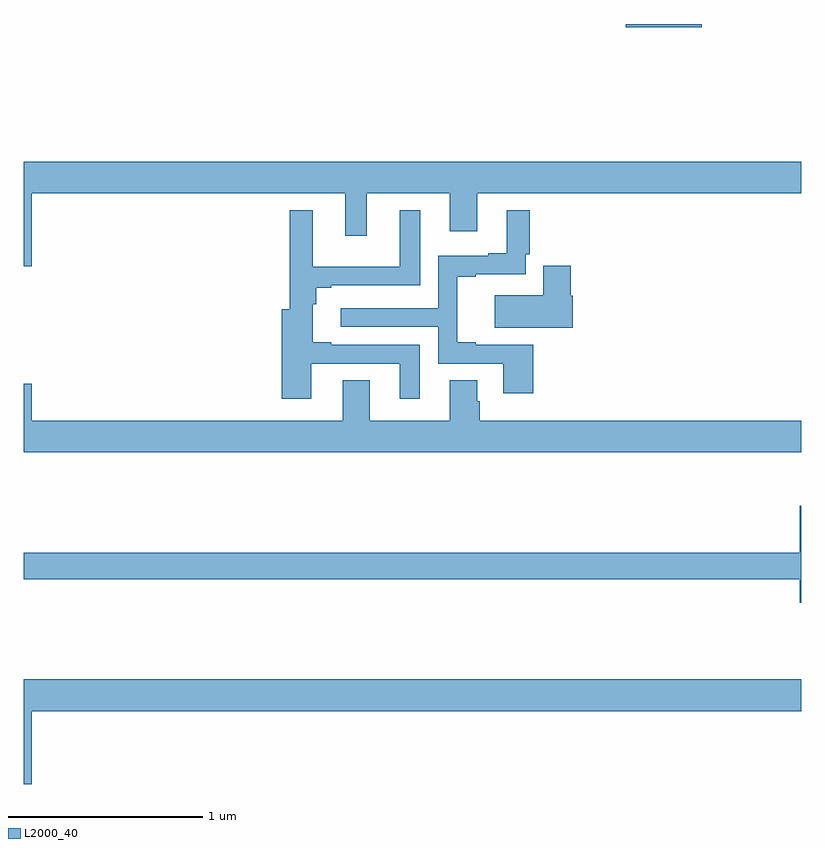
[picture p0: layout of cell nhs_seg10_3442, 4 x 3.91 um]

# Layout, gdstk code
import gdstk
lib = gdstk.Library(unit=1e-6, precision=1e-09)
def R(c, l, rs):  # rectangles x0, y0, x1, y1
    for r in rs: c.add(gdstk.rectangle(r[:2], r[2:], *l))
def P(c, l, *ps):  # polygons
    for p in ps: c.add(gdstk.Polygon(p, *l))
L2000_40 = (2000, 40)

nhs_seg10_3442 = lib.new_cell('nhs_seg10_3442')
R(nhs_seg10_3442, L2000_40, [(300.098,1322.483,300.487,1322.5)])
P(nhs_seg10_3442, L2000_40, [(297.04,1321.628),(298.655,1321.628),(298.655,1321.41),(298.765,1321.41),(298.765,1321.628),(299.192,1321.628),(299.192,1321.434),(299.332,1321.434),(299.332,1321.628),(301,1321.628),(301,1321.792),(297,1321.792),(297,1321.254),(297.04,1321.254)],
  [(298.48,1320.753),(298.934,1320.753),(298.934,1320.573),(299.038,1320.573),(299.038,1320.849),(298.582,1320.849),(298.582,1320.862),(298.486,1320.862),(298.486,1321.058),(298.504,1321.058),(298.504,1321.143),(298.582,1321.143),(298.582,1321.155),(299.041,1321.155),(299.041,1321.543),(298.934,1321.543),(298.934,1321.252),(298.486,1321.252),(298.486,1321.543),(298.368,1321.543),(298.368,1321.033),(298.328,1321.033),(298.328,1320.573),(298.48,1320.573)],
  [(299.621,1320.849),(299.326,1320.849),(299.326,1320.862),(299.231,1320.862),(299.231,1321.2),(299.326,1321.2),(299.326,1321.212),(299.583,1321.212),(299.583,1321.315),(299.603,1321.315),(299.603,1321.543),(299.486,1321.543),(299.486,1321.321),(299.39,1321.321),(299.39,1321.308),(299.133,1321.308),(299.133,1321.038),(298.632,1321.038),(298.632,1320.942),(299.133,1320.942),(299.133,1320.753),(299.468,1320.753),(299.468,1320.6),(299.621,1320.6)],
  [(299.825,1321.101),(299.813,1321.101),(299.813,1321.255),(299.672,1321.255),(299.672,1321.105),(299.424,1321.105),(299.424,1320.938),(299.825,1320.938)],
  [(301,1320.46),(299.345,1320.46),(299.345,1320.558),(299.332,1320.558),(299.332,1320.668),(299.192,1320.668),(299.192,1320.46),(298.78,1320.46),(298.78,1320.668),(298.64,1320.668),(298.64,1320.46),(297.04,1320.46),(297.04,1320.649),(297,1320.649),(297,1320.296),(301,1320.296)],
  [(301,1320.021),(300.992,1320.021),(300.992,1319.78),(297,1319.78),(297,1319.644),(300.992,1319.644),(300.992,1319.522),(301,1319.522)],
  [(297.04,1318.964),(301,1318.964),(301,1319.128),(297,1319.128),(297,1318.59),(297.04,1318.59)])

lib.write_gds('nhs_seg10_3442.gds')
